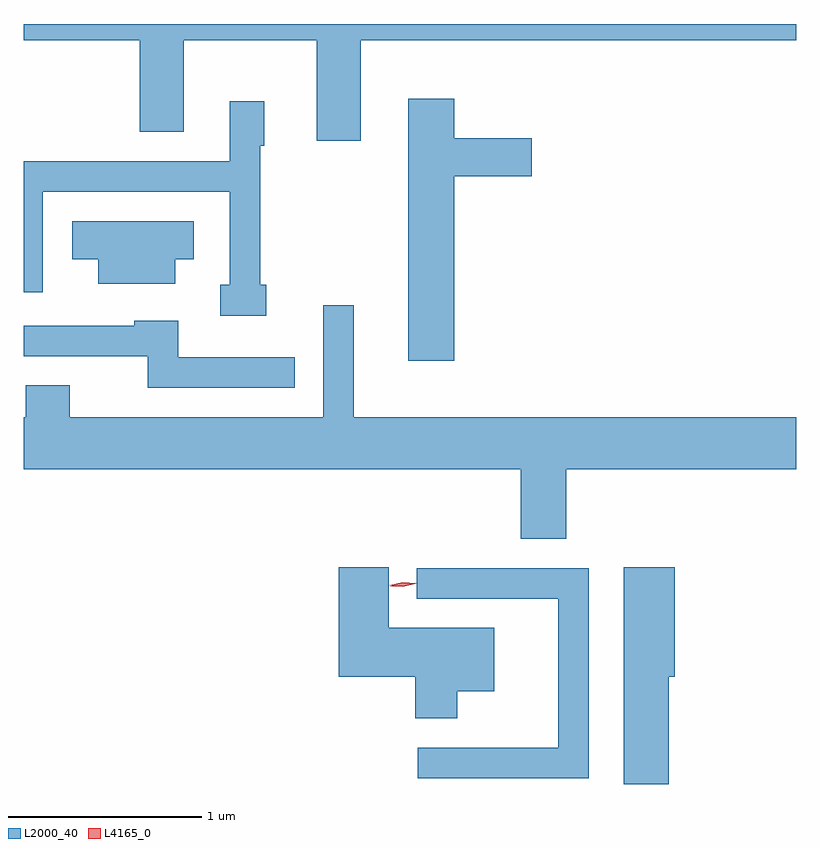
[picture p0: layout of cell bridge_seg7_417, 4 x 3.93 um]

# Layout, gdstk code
import gdstk
lib = gdstk.Library(unit=1e-6, precision=1e-09)
def P(c, l, *ps):  # polygons
    for p in ps: c.add(gdstk.Polygon(p, *l))
L2000_40 = (2000, 40)
L4165_0 = (4165, 0)

bridge_seg7_417 = lib.new_cell('bridge_seg7_417')
P(bridge_seg7_417, L2000_40, [(1097.089,1703.216),(1099.344,1703.216),(1099.344,1703.3),(1095.344,1703.3),(1095.344,1703.216),(1095.946,1703.216),(1095.946,1702.741),(1096.174,1702.741),(1096.174,1703.216),(1096.861,1703.216),(1096.861,1702.696),(1097.089,1702.696)],
  [(1097.574,1702.511),(1097.974,1702.511),(1097.974,1702.709),(1097.574,1702.709),(1097.574,1702.914),(1097.336,1702.914),(1097.336,1701.556),(1097.574,1701.556)],
  [(1096.599,1701.949),(1096.569,1701.949),(1096.569,1702.671),(1096.589,1702.671),(1096.589,1702.899),(1096.411,1702.899),(1096.411,1702.589),(1095.344,1702.589),(1095.344,1701.911),(1095.444,1701.911),(1095.444,1702.431),(1096.411,1702.431),(1096.411,1701.949),(1096.363,1701.949),(1096.363,1701.791),(1096.599,1701.791)],
  [(1096.129,1702.081),(1096.224,1702.081),(1096.224,1702.279),(1095.596,1702.279),(1095.596,1702.081),(1095.731,1702.081),(1095.731,1701.956),(1096.129,1701.956)],
  [(1098.154,1700.996),(1099.344,1700.996),(1099.344,1701.264),(1097.054,1701.264),(1097.054,1701.843),(1096.896,1701.843),(1096.896,1701.264),(1095.584,1701.264),(1095.584,1701.429),(1095.356,1701.429),(1095.356,1701.264),(1095.344,1701.264),(1095.344,1700.996),(1097.916,1700.996),(1097.916,1700.636),(1098.154,1700.636)],
  [(1096.748,1701.574),(1096.144,1701.574),(1096.144,1701.764),(1095.916,1701.764),(1095.916,1701.739),(1095.344,1701.739),(1095.344,1701.581),(1095.986,1701.581),(1095.986,1701.416),(1096.748,1701.416)],
  [(1098.684,1699.921),(1098.714,1699.921),(1098.714,1700.489),(1098.451,1700.489),(1098.451,1699.366),(1098.684,1699.366)],
  [(1097.589,1699.846),(1097.779,1699.846),(1097.779,1700.174),(1097.234,1700.174),(1097.234,1700.489),(1096.976,1700.489),(1096.976,1699.921),(1097.371,1699.921),(1097.371,1699.706),(1097.589,1699.706)],
  [(1098.269,1700.484),(1097.378,1700.484),(1097.378,1700.326),(1098.111,1700.326),(1098.111,1699.554),(1097.383,1699.554),(1097.383,1699.396),(1098.269,1699.396)])
P(bridge_seg7_417, L4165_0, [(1097.307,1700.386),(1097.241,1700.389),(1097.24,1700.389),(1097.241,1700.39),(1097.305,1700.406),(1097.372,1700.403),(1097.372,1700.402),(1097.372,1700.402)],
  [(1097.308,1700.39),(1097.238,1700.394),(1097.237,1700.394),(1097.238,1700.395),(1097.306,1700.41),(1097.375,1700.405),(1097.376,1700.405),(1097.375,1700.404)])

lib.write_gds('bridge_seg7_417.gds')
